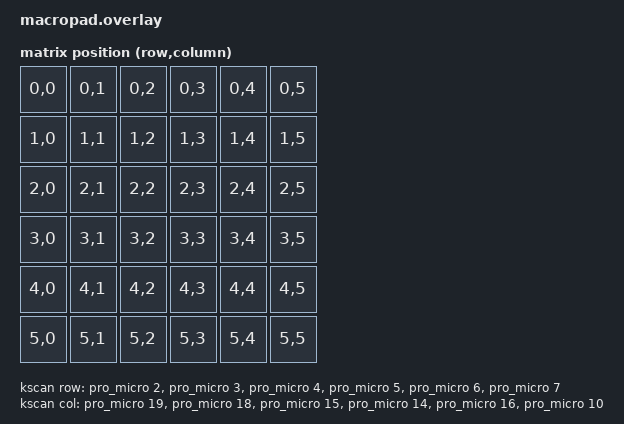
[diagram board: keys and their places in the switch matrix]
#include <physical_layouts.dtsi>
#include <dt-bindings/zmk/matrix_transform.h>

/ {
    chosen {
        zmk,physical-layout = &layout;
    };

    kscan: kscan {
        compatible = "zmk,kscan-gpio-matrix";
        diode-direction = "col2row";

        row-gpios = <&pro_micro 2 (GPIO_ACTIVE_HIGH | GPIO_PULL_DOWN)>,
                    <&pro_micro 3 (GPIO_ACTIVE_HIGH | GPIO_PULL_DOWN)>,
                    <&pro_micro 4 (GPIO_ACTIVE_HIGH | GPIO_PULL_DOWN)>,
                    <&pro_micro 5 (GPIO_ACTIVE_HIGH | GPIO_PULL_DOWN)>,
                    <&pro_micro 6 (GPIO_ACTIVE_HIGH | GPIO_PULL_DOWN)>,
                    <&pro_micro 7 (GPIO_ACTIVE_HIGH | GPIO_PULL_DOWN)>;

        col-gpios = <&pro_micro 19 GPIO_ACTIVE_HIGH>, 
                    <&pro_micro 18 GPIO_ACTIVE_HIGH>, 
                    <&pro_micro 15 GPIO_ACTIVE_HIGH>, 
                    <&pro_micro 14 GPIO_ACTIVE_HIGH>, 
                    <&pro_micro 16 GPIO_ACTIVE_HIGH>, 
                    <&pro_micro 10 GPIO_ACTIVE_HIGH>; 
    };

    transform: matrix_transform {
        compatible = "zmk,matrix-transform";
        rows = <6>;
        columns = <6>;

        map = <
                RC(0, 0) RC(0, 1) RC(0, 2) RC(0, 3) RC(0, 4) RC(0, 5)
                RC(1, 0) RC(1, 1) RC(1, 2) RC(1, 3) RC(1, 4) RC(1, 5)
                RC(2, 0) RC(2, 1) RC(2, 2) RC(2, 3) RC(2, 4) RC(2, 5)
                RC(3, 0) RC(3, 1) RC(3, 2) RC(3, 3) RC(3, 4) RC(3, 5)
                RC(4, 0) RC(4, 1) RC(4, 2) RC(4, 3) RC(4, 4) RC(4, 5)
                RC(5, 0) RC(5, 1) RC(5, 2) RC(5, 3) RC(5, 4) RC(5, 5)
        >;
    };

    layout: layout {
        compatible = "zmk,physical-layout";
        display-name = "Ortho 6x6";
        transform = <&transform>;
        kscan = <&kscan>;

        keys  //                     w   h    x    y     rot    rx    ry
            = <&key_physical_attrs 100 100    0    0       0     0     0>
            , <&key_physical_attrs 100 100  100    0       0     0     0>
            , <&key_physical_attrs 100 100  200    0       0     0     0>
            , <&key_physical_attrs 100 100  300    0       0     0     0>
            , <&key_physical_attrs 100 100  400    0       0     0     0>
            , <&key_physical_attrs 100 100  500    0       0     0     0>
            , <&key_physical_attrs 100 100    0  100       0     0     0>
            , <&key_physical_attrs 100 100  100  100       0     0     0>
            , <&key_physical_attrs 100 100  200  100       0     0     0>
            , <&key_physical_attrs 100 100  300  100       0     0     0>
            , <&key_physical_attrs 100 100  400  100       0     0     0>
            , <&key_physical_attrs 100 100  500  100       0     0     0>
            , <&key_physical_attrs 100 100    0  200       0     0     0>
            , <&key_physical_attrs 100 100  100  200       0     0     0>
            , <&key_physical_attrs 100 100  200  200       0     0     0>
            , <&key_physical_attrs 100 100  300  200       0     0     0>
            , <&key_physical_attrs 100 100  400  200       0     0     0>
            , <&key_physical_attrs 100 100  500  200       0     0     0>
            , <&key_physical_attrs 100 100    0  300       0     0     0>
            , <&key_physical_attrs 100 100  100  300       0     0     0>
            , <&key_physical_attrs 100 100  200  300       0     0     0>
            , <&key_physical_attrs 100 100  300  300       0     0     0>
            , <&key_physical_attrs 100 100  400  300       0     0     0>
            , <&key_physical_attrs 100 100  500  300       0     0     0>
            , <&key_physical_attrs 100 100    0  400       0     0     0>
            , <&key_physical_attrs 100 100  100  400       0     0     0>
            , <&key_physical_attrs 100 100  200  400       0     0     0>
            , <&key_physical_attrs 100 100  300  400       0     0     0>
            , <&key_physical_attrs 100 100  400  400       0     0     0>
            , <&key_physical_attrs 100 100  500  400       0     0     0>
            , <&key_physical_attrs 100 100    0  500       0     0     0>
            , <&key_physical_attrs 100 100  100  500       0     0     0>
            , <&key_physical_attrs 100 100  200  500       0     0     0>
            , <&key_physical_attrs 100 100  300  500       0     0     0>
            , <&key_physical_attrs 100 100  400  500       0     0     0>
            , <&key_physical_attrs 100 100  500  500       0     0     0>
            
            ;
    };
};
